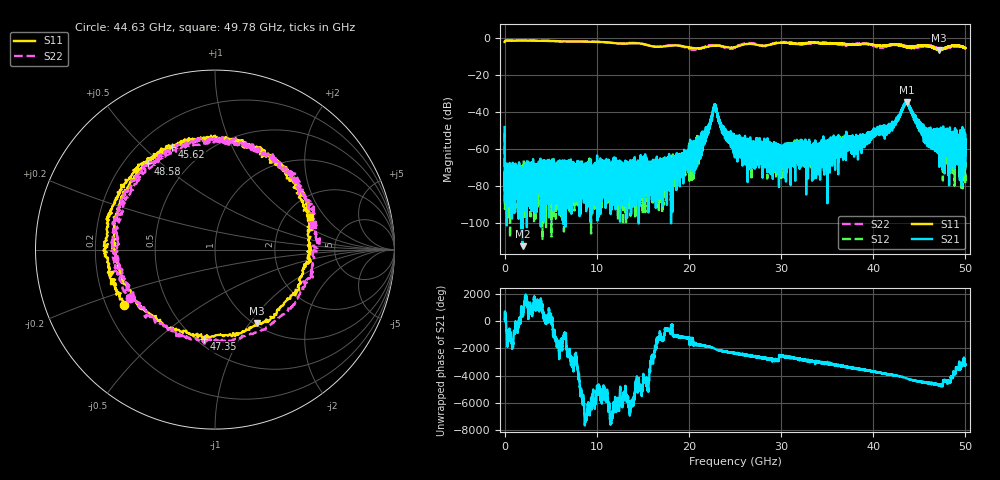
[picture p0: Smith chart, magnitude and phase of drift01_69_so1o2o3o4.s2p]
!Created with skrf (http://scikit-rf.org).
# Hz S RI R 50.0
!freq ReS11 ImS11 ReS21 ImS21 ReS12 ImS12 ReS22 ImS22
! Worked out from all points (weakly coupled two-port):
!   10001 points, 300 kHz to 50 GHz, reference 50 ohm
!   highest |S21| = -34.78 dB at 43.63 GHz (marker M1); lowest = -112.8 dB at 1.96 GHz (marker M2)
!   lowest |S11| = -6.5 dB at 47.1 GHz (marker M3), VSWR 2.79, Z = 51.3 - j54.2 ohm
!   |S11| at or under -10 dB: nowhere
!   |S22| runs from -6.4 to -1.4 dB; largest |S21 - S12| = 0.004
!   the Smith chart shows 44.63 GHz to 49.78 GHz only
!   S11 on the Smith chart (normalised r, x): 44.63 GHz: 0.27, -0.26; 45.62 GHz: 0.33, +0.61; 47.35 GHz: 0.54, -0.72; 48.58 GHz: 0.30, +0.45; 49.78 GHz: 2.72, +1.43
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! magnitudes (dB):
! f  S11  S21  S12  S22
! 300 kHz  -2.1  -48.3  -51.6  -2.2
! 255.3 MHz  -1.4  -75.5  -84.2  -1.4
! 1.96 GHz  -1.4  -112.8  -75.4  -1.4
! 8.335 GHz  -1.9  -77.0  -80.9  -1.8
! 16.67 GHz  -4.8  -73.5  -70.8  -4.8
! 20.65 GHz  -5.6  -59.8  -60.9  -6.3
! 21.79 GHz  -5.0  -54.6  -51.6  -4.7
! 22.8 GHz  -4.3  -36.3  -36.1  -4.0
! 23.83 GHz  -4.7  -49.7  -50.4  -5.1
! 25 GHz  -5.0  -57.1  -54.8  -5.0
! 29.08 GHz  -3.3  -67.6  -72.5  -3.2
! 33.34 GHz  -2.6  -58.4  -58.2  -2.7
! 38.13 GHz  -3.5  -62.6  -57.2  -3.3
! 41.67 GHz  -3.9  -49.0  -49.1  -4.0
! 43.63 GHz  -4.9  -34.8  -35.3  -5.0
! 44.63 GHz  -4.5  -43.6  -44.7  -5.3
! 45.62 GHz  -4.1  -48.7  -50.3  -4.4
! 47.1 GHz  -6.5  -59.2  -52.7  -5.7
! 47.35 GHz  -6.0  -49.2  -53.8  -5.8
! 48.58 GHz  -4.3  -55.9  -57.7  -4.7
! 49.78 GHz  -5.0  -49.3  -72.0  -5.0
! 50 GHz  -5.5  -54.8  -55.3  -5.2
